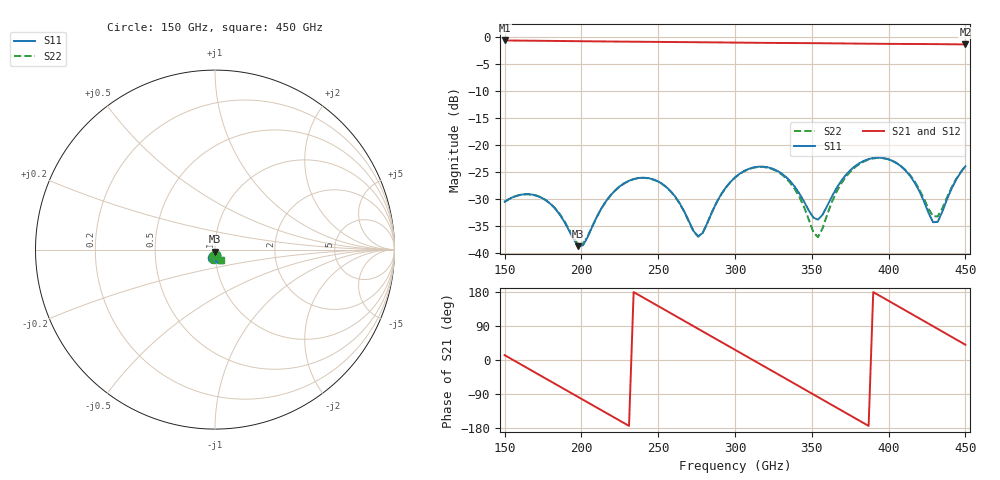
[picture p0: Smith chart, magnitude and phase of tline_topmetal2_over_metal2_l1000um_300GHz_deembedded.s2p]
! Created with skrf 2.2.0 (http://scikit-rf.org).
# GHz S DB R 50.0
! Port[1] = P1
! Port[2] = P2
!freq dBS11 angS11 dBS21 angS21 dBS12 angS12 dBS22 angS22
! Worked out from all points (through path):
!   101 points, 150 GHz to 450 GHz, reference 50 ohm
!   highest |S21| = -0.71 dB at 150 GHz (marker M1); lowest = -1.4 dB at 450 GHz (marker M2)
!   group delay of S21, straight-line fit = 6.41 ps
!   lowest |S11| = -38.7 dB at 198 GHz (marker M3), VSWR 1.02, Z = 49.7 - j1.13 ohm
!   |S11| at or under -10 dB: start of sweep to end of sweep
!   |S22| runs from -38.4 to -22.4 dB; largest |S21 - S12| = 1.6e-13
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150  -30.49 -80.0  -0.71 12.9  -0.71 12.9  -30.52 -80.1
171  -29.40 -111.6  -0.77 -35.6  -0.77 -35.6  -29.39 -111.2
186  -32.90 -128.8  -0.81 -70.2  -0.81 -70.2  -32.80 -128.1
198  -38.70 -102.8  -0.85 -97.9  -0.85 -97.9  -38.36 -103.3
201  -38.54 -84.2  -0.86 -104.8  -0.86 -104.8  -38.26 -85.7
228  -27.06 -77.9  -0.93 -167.0  -0.93 -167.0  -27.10 -78.6
240  -26.05 -98.4  -0.96 165.4  -0.96 165.4  -26.09 -99.0
252  -27.08 -118.2  -0.99 137.7  -0.99 137.7  -27.12 -118.8
264  -30.79 -130.9  -1.01 110.0  -1.01 110.0  -30.83 -131.5
276  -36.91 -97.7  -1.04 82.3  -1.04 82.3  -36.94 -98.0
300  -26.02 -69.0  -1.11 26.9  -1.11 26.9  -26.03 -70.3
312  -24.17 -88.4  -1.14 -0.7  -1.14 -0.7  -24.21 -90.2
324  -24.34 -108.5  -1.17 -28.4  -1.17 -28.4  -24.44 -111.4
339  -27.75 -127.1  -1.19 -63.0  -1.19 -63.0  -28.18 -133.3
351  -33.42 -108.4  -1.21 -90.7  -1.21 -90.7  -36.11 -115.3
354  -33.80 -92.1  -1.22 -97.7  -1.22 -97.7  -37.04 -89.9
378  -23.96 -73.8  -1.29 -153.2  -1.29 -153.2  -24.17 -66.6
390  -22.42 -93.3  -1.32 179.2  -1.32 179.2  -22.49 -87.3
402  -22.89 -113.8  -1.35 151.5  -1.35 151.5  -22.88 -108.1
417  -26.97 -133.5  -1.37 116.8  -1.37 116.8  -26.77 -127.1
429  -34.28 -106.3  -1.39 89.0  -1.39 89.0  -33.21 -101.9
450  -23.96 -62.6  -1.44 40.3  -1.44 40.3  -23.90 -61.2
